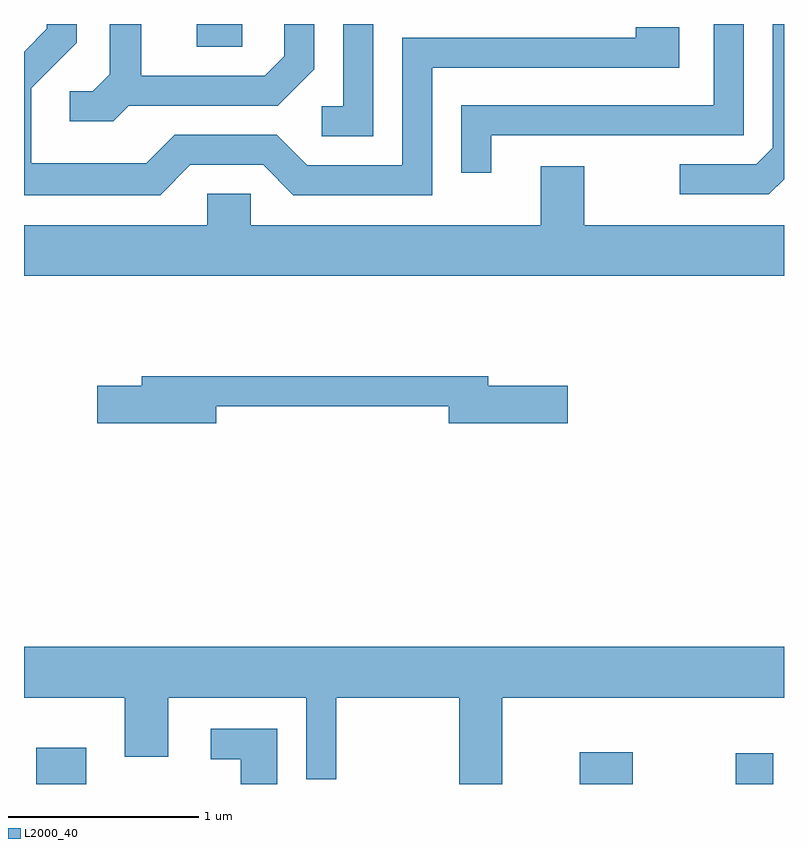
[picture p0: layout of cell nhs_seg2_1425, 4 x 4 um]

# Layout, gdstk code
import gdstk
lib = gdstk.Library(unit=1e-6, precision=1e-09)
def R(c, l, rs):  # rectangles x0, y0, x1, y1
    for r in rs: c.add(gdstk.rectangle(r[:2], r[2:], *l))
def P(c, l, *ps):  # polygons
    for p in ps: c.add(gdstk.Polygon(p, *l))
L2000_40 = (2000, 40)

nhs_seg2_1425 = lib.new_cell('nhs_seg2_1425')
R(nhs_seg2_1425, L2000_40, [(225.676,1107.802,225.939,1107.994), (228.536,1107.802,228.814,1107.969), (229.356,1107.802,229.554,1107.964), (226.521,1111.681,226.759,1111.802)])
P(nhs_seg2_1425, L2000_40, [(226.162,1111.371),(226.947,1111.371),(227.139,1111.564),(227.139,1111.802),(226.981,1111.802),(226.981,1111.632),(226.879,1111.529),(226.229,1111.529),(226.229,1111.802),(226.061,1111.802),(226.061,1111.537),(225.974,1111.449),(225.853,1111.449),(225.853,1111.291),(226.082,1111.291)],
  [(228.069,1111.216),(229.399,1111.216),(229.399,1111.802),(229.241,1111.802),(229.241,1111.374),(227.911,1111.374),(227.911,1111.018),(228.069,1111.018)],
  [(227.449,1111.802),(227.291,1111.802),(227.291,1111.369),(227.178,1111.369),(227.178,1111.211),(227.449,1111.211)],
  [(226.487,1111.061),(226.869,1111.061),(227.029,1110.901),(227.759,1110.901),(227.759,1111.571),(229.059,1111.571),(229.059,1111.784),(228.831,1111.784),(228.831,1111.729),(227.601,1111.729),(227.601,1111.059),(227.102,1111.059),(226.942,1111.219),(226.404,1111.219),(226.254,1111.069),(225.649,1111.069),(225.649,1111.464),(225.889,1111.704),(225.889,1111.802),(225.731,1111.802),(225.731,1111.777),(225.611,1111.657),(225.611,1110.901),(226.327,1110.901)],
  [(229.611,1110.985),(229.611,1111.802),(229.551,1111.802),(229.551,1111.152),(229.464,1111.064),(229.063,1111.064),(229.063,1110.906),(229.532,1110.906)],
  [(229.611,1110.744),(228.559,1110.744),(228.559,1111.054),(228.331,1111.054),(228.331,1110.744),(226.804,1110.744),(226.804,1110.909),(226.576,1110.909),(226.576,1110.744),(225.611,1110.744),(225.611,1110.476),(229.611,1110.476)],
  [(226.624,1109.791),(227.846,1109.791),(227.846,1109.701),(228.474,1109.701),(228.474,1109.899),(228.054,1109.899),(228.054,1109.949),(226.231,1109.949),(226.231,1109.899),(225.996,1109.899),(225.996,1109.701),(226.624,1109.701)],
  [(228.129,1108.256),(229.611,1108.256),(229.611,1108.524),(225.611,1108.524),(225.611,1108.256),(226.141,1108.256),(226.141,1107.946),(226.369,1107.946),(226.369,1108.256),(227.096,1108.256),(227.096,1107.828),(227.254,1107.828),(227.254,1108.256),(227.901,1108.256),(227.901,1107.802),(228.129,1107.802)],
  [(226.944,1108.094),(226.593,1108.094),(226.593,1107.931),(226.751,1107.931),(226.751,1107.802),(226.944,1107.802)])

lib.write_gds('nhs_seg2_1425.gds')
